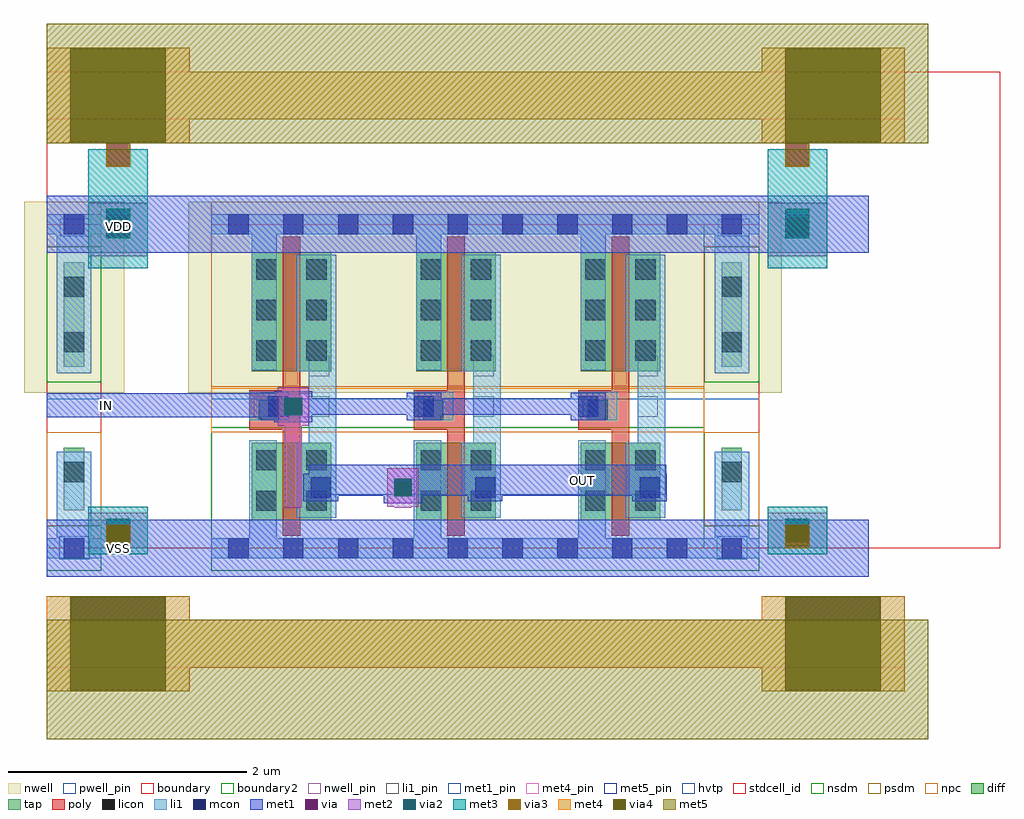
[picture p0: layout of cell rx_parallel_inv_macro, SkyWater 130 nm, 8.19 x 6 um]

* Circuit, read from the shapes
.subckt rx_parallel_inv_macro IN OUT VDD VSS
XM1 OUT IN VSS VSS sky130_fd_pr__nfet_01v8 w=0.65 l=0.15 m=3
XM2 OUT IN VDD VDD sky130_fd_pr__pfet_01v8_hvt w=1 l=0.15 m=3
.ends

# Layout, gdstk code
import gdstk
lib = gdstk.Library(unit=1e-6, precision=1e-09)
def R(c, l, rs):  # rectangles x0, y0, x1, y1
    for r in rs: c.add(gdstk.rectangle(r[:2], r[2:], *l))
def A(c, l, x, y, w, h, nx, ny, dx, dy):  # array of equal rectangles
    R(c, l, [(x+i*dx, y+j*dy, x+i*dx+w, y+j*dy+h) for i in range(nx) for j in range(ny)])
def P(c, l, *ps):  # polygons
    for p in ps: c.add(gdstk.Polygon(p, *l))
nwell_pin = (64, 16)
nwell = (64, 20)
diff = (65, 20)
tap = (65, 44)
poly = (66, 20)
licon = (66, 44)
li1_pin = (67, 16)
li1 = (67, 20)
mcon = (67, 44)
met1_pin = (68, 16)
met1 = (68, 20)
via = (68, 44)
met2 = (69, 20)
via2 = (69, 44)
met3 = (70, 20)
via3 = (70, 44)
met4_pin = (71, 16)
met4 = (71, 20)
via4 = (71, 44)
met5_pin = (72, 16)
met5 = (72, 20)
hvtp = (78, 44)
stdcell_id = (81, 4)
nsdm = (93, 44)
psdm = (94, 20)
npc = (95, 20)
pwell_pin = (122, 16)
boundary = (235, 4)
boundary2 = (236, 0)

via_l1m1_pr_mr = lib.new_cell('VIA_L1M1_PR_MR')
R(via_l1m1_pr_mr, li1, [(-0.085,-0.085,0.085,0.085)])
R(via_l1m1_pr_mr, mcon, [(-0.085,-0.085,0.085,0.085)])
R(via_l1m1_pr_mr, met1, [(-0.145,-0.115,0.145,0.115)])

via_m1m2_pr = lib.new_cell('VIA_M1M2_PR')
R(via_m1m2_pr, met1, [(-0.16,-0.13,0.16,0.13)])
R(via_m1m2_pr, met2, [(-0.13,-0.16,0.13,0.16)])
R(via_m1m2_pr, via2, [(-0.075,-0.075,0.075,0.075)])

sky130_fd_sc_hd__tapvpwr = lib.new_cell('sky130_fd_sc_hd__tapvpwrvgnd_1')
R(sky130_fd_sc_hd__tapvpwr, nwell, [(-0.19,1.305,0.65,2.91)])
R(sky130_fd_sc_hd__tapvpwr, tap, [(0.145,0.32,0.315,0.845), (0.145,1.525,0.315,2.4)])
R(sky130_fd_sc_hd__tapvpwr, licon, [(0.145,0.555,0.315,0.725), (0.145,1.645,0.315,1.815), (0.145,2.11,0.315,2.28)])
R(sky130_fd_sc_hd__tapvpwr, li1, [(0,-0.085,0.46,0.085), (0.085,0,0.375,0.81), (0.085,1.47,0.375,2.72), (0,2.635,0.46,2.805)])
R(sky130_fd_sc_hd__tapvpwr, mcon, [(0.145,-0.085,0.315,0.085), (0.145,2.635,0.315,2.805)])
R(sky130_fd_sc_hd__tapvpwr, met1_pin, [(0.105,-0.09,0.36,0.1), (0.11,2.62,0.375,2.765)])
R(sky130_fd_sc_hd__tapvpwr, met1, [(0,-0.24,0.46,0.24), (0,2.48,0.46,2.96)])
R(sky130_fd_sc_hd__tapvpwr, hvtp, [(0,1.25,0.46,2.72)])
R(sky130_fd_sc_hd__tapvpwr, stdcell_id, [(0,0,0.46,2.72)])
R(sky130_fd_sc_hd__tapvpwr, nsdm, [(0,-0.19,0.46,0.19), (0,1.395,0.46,2.53)])
R(sky130_fd_sc_hd__tapvpwr, psdm, [(0,0.19,0.46,0.975), (0,2.53,0.46,2.91)])
sky130_fd_sc_hd__tapvpwr.add(gdstk.Label('VPWR', (0.23,2.72), layer=68, texttype=5))
sky130_fd_sc_hd__tapvpwr.add(gdstk.Label('VGND', (0.23,0), layer=68, texttype=5))
sky130_fd_sc_hd__tapvpwr.add(gdstk.Label('tapvpwrvgnd_1', (0,0), layer=83, texttype=44))

sky130_fd_sc_hd__inv_1 = lib.new_cell('sky130_fd_sc_hd__inv_1')
R(sky130_fd_sc_hd__inv_1, nwell_pin, [(0.145,2.635,0.315,2.805), (0.145,2.635,0.315,2.805)])
R(sky130_fd_sc_hd__inv_1, nwell, [(-0.19,1.305,1.57,2.91)])
R(sky130_fd_sc_hd__inv_1, diff, [(0.34,0.235,1.01,0.885), (0.34,1.485,1.01,2.485)])
P(sky130_fd_sc_hd__inv_1, poly, [(0.6,0.105),(0.6,0.995),(0.32,0.995),(0.32,1.325),(0.6,1.325),(0.6,2.615),(0.75,2.615),(0.75,0.105)])
A(sky130_fd_sc_hd__inv_1, licon, 0.38, 1.575, 0.17, 0.17, 1, 3, 0, 0.34)
A(sky130_fd_sc_hd__inv_1, licon, 0.8, 1.575, 0.17, 0.17, 1, 3, 0, 0.34)
R(sky130_fd_sc_hd__inv_1, licon, [(0.38,0.315,0.55,0.485), (0.8,0.315,0.97,0.485), (0.38,0.655,0.55,0.825), (0.8,0.655,0.97,0.825), (0.4,1.075,0.57,1.245)])
R(sky130_fd_sc_hd__inv_1, li1_pin, [(0.36,1.105,0.53,1.275), (0.82,1.105,0.99,1.275), (0.82,1.445,0.99,1.615)])
R(sky130_fd_sc_hd__inv_1, li1, [(0,-0.085,1.38,0.085), (0.32,0.005,0.55,0.905), (0.32,1.075,0.65,1.315), (0.34,1.495,0.55,2.675), (0,2.635,1.38,2.805)])
P(sky130_fd_sc_hd__inv_1, li1, [(0.72,0.255),(0.72,0.885),(0.82,0.885),(0.82,1.485),(0.72,1.485),(0.72,2.465),(1.05,2.465),(1.05,0.255)])
A(sky130_fd_sc_hd__inv_1, mcon, 0.145, -0.085, 0.17, 0.17, 3, 2, 0.46, 2.72)
R(sky130_fd_sc_hd__inv_1, met1_pin, [(0.145,-0.085,0.315,0.085), (0.145,-0.085,0.315,0.085), (0.145,2.635,0.315,2.805), (0.145,2.635,0.315,2.805)])
R(sky130_fd_sc_hd__inv_1, hvtp, [(0,1.25,1.38,2.72)])
R(sky130_fd_sc_hd__inv_1, stdcell_id, [(0,0,1.38,2.72)])
R(sky130_fd_sc_hd__inv_1, nsdm, [(0,-0.19,1.38,1.015)])
R(sky130_fd_sc_hd__inv_1, psdm, [(0,1.355,1.38,2.91)])
R(sky130_fd_sc_hd__inv_1, npc, [(0,0.975,1.38,1.345)])
R(sky130_fd_sc_hd__inv_1, pwell_pin, [(0.145,-0.085,0.315,0.085), (0.145,-0.085,0.315,0.085)])
R(sky130_fd_sc_hd__inv_1, boundary2, [(0,0,1.38,2.72)])
sky130_fd_sc_hd__inv_1.add(gdstk.FlexPath([(0,2.72),(1.38,2.72)], 0.48, ends="flush", simple_path=True, layer=68, datatype=20))  # met1
sky130_fd_sc_hd__inv_1.add(gdstk.FlexPath([(0,0),(1.38,0)], 0.48, ends="flush", simple_path=True, layer=68, datatype=20))  # met1
sky130_fd_sc_hd__inv_1.add(gdstk.Label('VGND', (0.23,0), layer=68, texttype=5))
sky130_fd_sc_hd__inv_1.add(gdstk.Label('VPWR', (0.23,2.72), layer=68, texttype=5))
sky130_fd_sc_hd__inv_1.add(gdstk.Label('inv_1', (0,0), layer=83, texttype=44))
sky130_fd_sc_hd__inv_1.add(gdstk.Label('Y', (0.905,1.53), layer=67, texttype=5))
sky130_fd_sc_hd__inv_1.add(gdstk.Label('Y', (0.905,1.19), layer=67, texttype=5))
sky130_fd_sc_hd__inv_1.add(gdstk.Label('A', (0.445,1.19), layer=67, texttype=5))
sky130_fd_sc_hd__inv_1.add(gdstk.Label('VNB', (0.23,0), layer=64, texttype=59))
sky130_fd_sc_hd__inv_1.add(gdstk.Label('VPB', (0.23,2.72), layer=64, texttype=5))

rx_parallel_inv_macro = lib.new_cell('rx_parallel_inv_macro')
R(rx_parallel_inv_macro, met1_pin, [(0.5,0.02,0.7,0.2), (6.2,0.02,6.399,0.2), (2.2,0.45,5.2,0.7), (0,1.1,2.2,1.3), (0.5,2.6,0.7,2.8), (6.2,2.6,6.399,2.8)])
R(rx_parallel_inv_macro, met1, [(0,-0.24,6.9,0.24), (2.2,0.45,5.2,0.7), (0,1.1,2.2,1.3), (0,2.48,6.9,2.96)])
R(rx_parallel_inv_macro, via, [(0.515,0.05,0.684,0.17), (6.215,0.05,6.385,0.17), (0.515,2.62,0.684,2.78), (6.215,2.62,6.385,2.78)])
R(rx_parallel_inv_macro, met2, [(0.35,0,0.85,0.3), (6.05,0,6.55,0.3), (0.35,2.45,0.85,2.9), (6.05,2.45,6.55,2.9)])
R(rx_parallel_inv_macro, via2, [(0.5,0.05,0.7,0.25), (6.2,0.05,6.399,0.25), (0.5,2.6,0.7,2.85), (6.2,2.6,6.399,2.85)])
R(rx_parallel_inv_macro, met3, [(0.35,-0.05,0.85,0.35), (6.05,-0.05,6.55,0.35), (0.35,2.35,0.85,3.35), (6.05,2.35,6.55,3.35)])
R(rx_parallel_inv_macro, via3, [(0.5,0,0.7,0.2), (6.2,0,6.399,0.2), (0.5,3.2,0.7,3.4), (6.2,3.2,6.399,3.4)])
R(rx_parallel_inv_macro, met4_pin, [(0,-1,7.2,-0.6), (0,3.6,7.2,4)])
R(rx_parallel_inv_macro, met4, [(0,-1.2,1.2,-0.4), (6,-1.2,7.2,-0.4), (0,-1,7.2,-0.6), (0,3.4,1.2,4.2), (6,3.4,7.2,4.2), (0,3.6,7.2,4)])
R(rx_parallel_inv_macro, via4, [(0.199,-1.2,1,-0.4), (6.2,-1.2,7,-0.4), (0.199,3.4,1,4.2), (6.2,3.4,7,4.2)])
R(rx_parallel_inv_macro, met5_pin, [(0,-1.6,7.4,-0.6), (0,3.4,7.4,4.4)])
R(rx_parallel_inv_macro, met5, [(0,-1.6,7.4,-0.6), (0,3.4,7.4,4.4)])
R(rx_parallel_inv_macro, boundary, [(0,0,8,4)])
rx_parallel_inv_macro.add(gdstk.FlexPath([(1.945,1.19),(2.07,1.19)], 0.14, ends="extended", simple_path=True, layer=68, datatype=20))  # met1
rx_parallel_inv_macro.add(gdstk.FlexPath([(2.07,1.19),(3.165,1.19)], 0.14, ends="extended", simple_path=True, layer=68, datatype=20))  # met1
rx_parallel_inv_macro.add(gdstk.FlexPath([(3.165,1.19),(4.545,1.19)], 0.14, ends="extended", simple_path=True, layer=68, datatype=20))  # met1
rx_parallel_inv_macro.add(gdstk.FlexPath([(3.68,0.51),(5.06,0.51)], 0.14, ends="extended", simple_path=True, layer=68, datatype=20))  # met1
rx_parallel_inv_macro.add(gdstk.FlexPath([(2.3,0.51),(3.68,0.51)], 0.14, ends="extended", simple_path=True, layer=68, datatype=20))  # met1
rx_parallel_inv_macro.add(gdstk.FlexPath([(2.07,0.34),(2.07,1.19)], 0.14, ends=(0, 0.07), simple_path=True, layer=69, datatype=20))  # met2
rx_parallel_inv_macro.add(gdstk.FlexPath([(2.99,0.34),(2.99,0.51)], 0.14, ends=(0, 0.07), simple_path=True, layer=69, datatype=20))  # met2
rx_parallel_inv_macro.add(gdstk.Reference(via_l1m1_pr_mr, (1.945,1.19)))
rx_parallel_inv_macro.add(gdstk.Reference(via_m1m2_pr, (2.07,1.19)))
rx_parallel_inv_macro.add(gdstk.Reference(via_l1m1_pr_mr, (3.165,1.19)))
rx_parallel_inv_macro.add(gdstk.Reference(via_l1m1_pr_mr, (4.545,1.19)))
rx_parallel_inv_macro.add(gdstk.Reference(via_l1m1_pr_mr, (3.68,0.51)))
rx_parallel_inv_macro.add(gdstk.Reference(via_l1m1_pr_mr, (5.06,0.51)))
rx_parallel_inv_macro.add(gdstk.Reference(via_l1m1_pr_mr, (2.3,0.51)))
rx_parallel_inv_macro.add(gdstk.Reference(via_m1m2_pr, (2.99,0.51)))
rx_parallel_inv_macro.add(gdstk.Reference(sky130_fd_sc_hd__tapvpwr, (0,0)))
rx_parallel_inv_macro.add(gdstk.Reference(sky130_fd_sc_hd__tapvpwr, (5.52,0)))
rx_parallel_inv_macro.add(gdstk.Reference(sky130_fd_sc_hd__inv_1, (1.38,0)))
rx_parallel_inv_macro.add(gdstk.Reference(sky130_fd_sc_hd__inv_1, (2.76,0)))
rx_parallel_inv_macro.add(gdstk.Reference(sky130_fd_sc_hd__inv_1, (4.14,0)))
rx_parallel_inv_macro.add(gdstk.Label('IN', (0.5,1.2), layer=68, texttype=5))
rx_parallel_inv_macro.add(gdstk.Label('OUT', (4.5,0.57), layer=68, texttype=5))
rx_parallel_inv_macro.add(gdstk.Label('VDD', (0.6,2.7), layer=68, texttype=5))
rx_parallel_inv_macro.add(gdstk.Label('VSS', (0.6,0), layer=68, texttype=5))

lib.write_gds('rx_parallel_inv_macro.gds')
